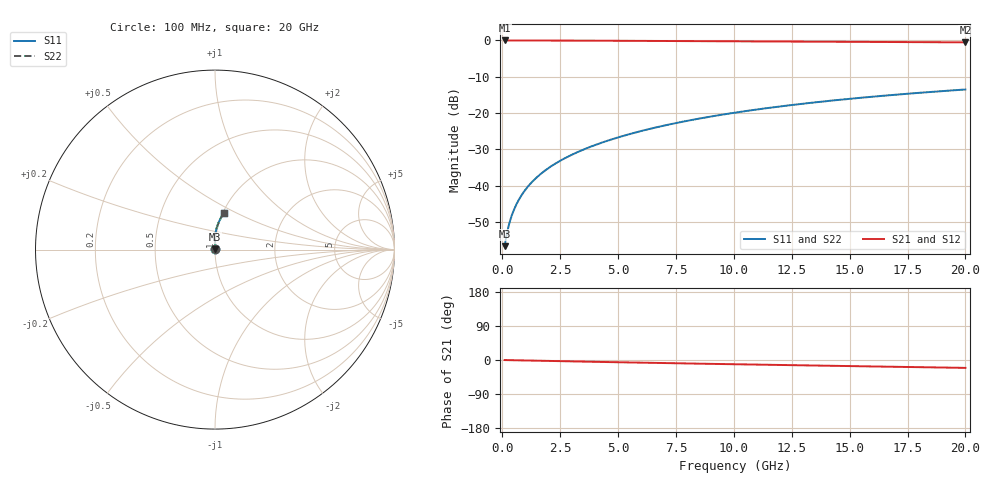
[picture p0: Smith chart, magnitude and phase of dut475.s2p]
! Touchstone file exported from HFSS 2024.1.0
!  File:  C:/UserFiles/LocalFiles/RDL_TSV_Batchsim/temp_RDL_top_475_1779678074.aedt
!  Generated:  11:03:24 AM May 25, 2026
!  Design:  RDL_top
!  Project:  temp_RDL_top_475_1779678074
!  Setup:  Setup1
!  Solution:  Sweep
! Variables:
!  dtsv = 10.80580581um
!  hbump = 3um
!  htsv = 92.35um
!  ldown = 100um
!  lrdl = 263.63um
!  p = 40
!  p1 = 55.81um
!  rhole = 1um
!  t = 450um
!  tdown = 3.915915916um
!  trdl = 3.95um
!  wdown = 15.38538539um
!  wrdl = 26.22um
# GHz S MA R 50.000000
! Terminal data exported
! Port[1] = Box2_T1
! Port[2] = Box2_T2
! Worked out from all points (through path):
!   200 points, 100 MHz to 20 GHz, reference 50 ohm
!   highest |S21| = -0.01 dB at 100 MHz (marker M1); lowest = -0.5 dB at 20 GHz (marker M2)
!   group delay of S21, straight-line fit = 2.85 ps
!   lowest |S11| = -56.6 dB at 100 MHz (marker M3), VSWR 1.00, Z = 50.1 + j0.0962 ohm
!   |S11| at or under -10 dB: start of sweep to end of sweep
!   |S22| runs from -56.6 to -13.5 dB; largest |S21 - S12| = 4e-15
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0.1  0.001472 40.7  0.9989 -0.1  0.9989 -0.1  0.001472 40.7
! Gamma 0 0 0 0
! Port Impedance 50 0 50 0
0.2  0.002215 57.8  0.9988 -0.3  0.9988 -0.3  0.002215 57.8
0.3  0.003014 65.8  0.9987 -0.4  0.9987 -0.4  0.003014 65.8
0.4  0.003823 70.6  0.9986 -0.5  0.9986 -0.5  0.003823 70.6
0.5  0.004638 73.8  0.9985 -0.6  0.9985 -0.6  0.004638 73.8
0.6  0.005462 76.3  0.9985 -0.8  0.9985 -0.8  0.005462 76.3
0.8  0.00713 79.6  0.9983 -1.0  0.9983 -1.0  0.00713 79.6
1.1  0.009677 82.7  0.998 -1.4  0.998 -1.4  0.009677 82.7
1.5  0.01313 85.2  0.9975 -1.9  0.9975 -1.9  0.01313 85.2
1.8  0.01577 86.5  0.9971 -2.2  0.9971 -2.2  0.01577 86.5
2.1  0.01844 87.4  0.9966 -2.6  0.9966 -2.6  0.01844 87.4
2.7  0.02389 88.7  0.9953 -3.3  0.9953 -3.3  0.02389 88.7
3.5  0.0314 89.8  0.9933 -4.2  0.9933 -4.2  0.0314 89.8
4.2  0.03821 90.3  0.9913 -5.0  0.9913 -5.0  0.03821 90.3
5  0.04625 90.5  0.9889 -5.9  0.9889 -5.9  0.04625 90.5
6.8  0.06522 90.1  0.9829 -7.9  0.9829 -7.9  0.06523 90.1
8.4  0.08282 89.0  0.9775 -9.6  0.9775 -9.6  0.08283 89.0
10.1  0.1019 87.4  0.9719 -11.3  0.9719 -11.3  0.1019 87.4
11.7  0.12 85.7  0.9667 -12.9  0.9667 -12.9  0.12 85.7
13.4  0.1392 83.7  0.9614 -14.5  0.9614 -14.5  0.1392 83.7
16.7  0.1758 79.9  0.9511 -17.7  0.9511 -17.7  0.1758 79.9
20  0.2112 76.1  0.9407 -20.8  0.9407 -20.8  0.2112 76.1
